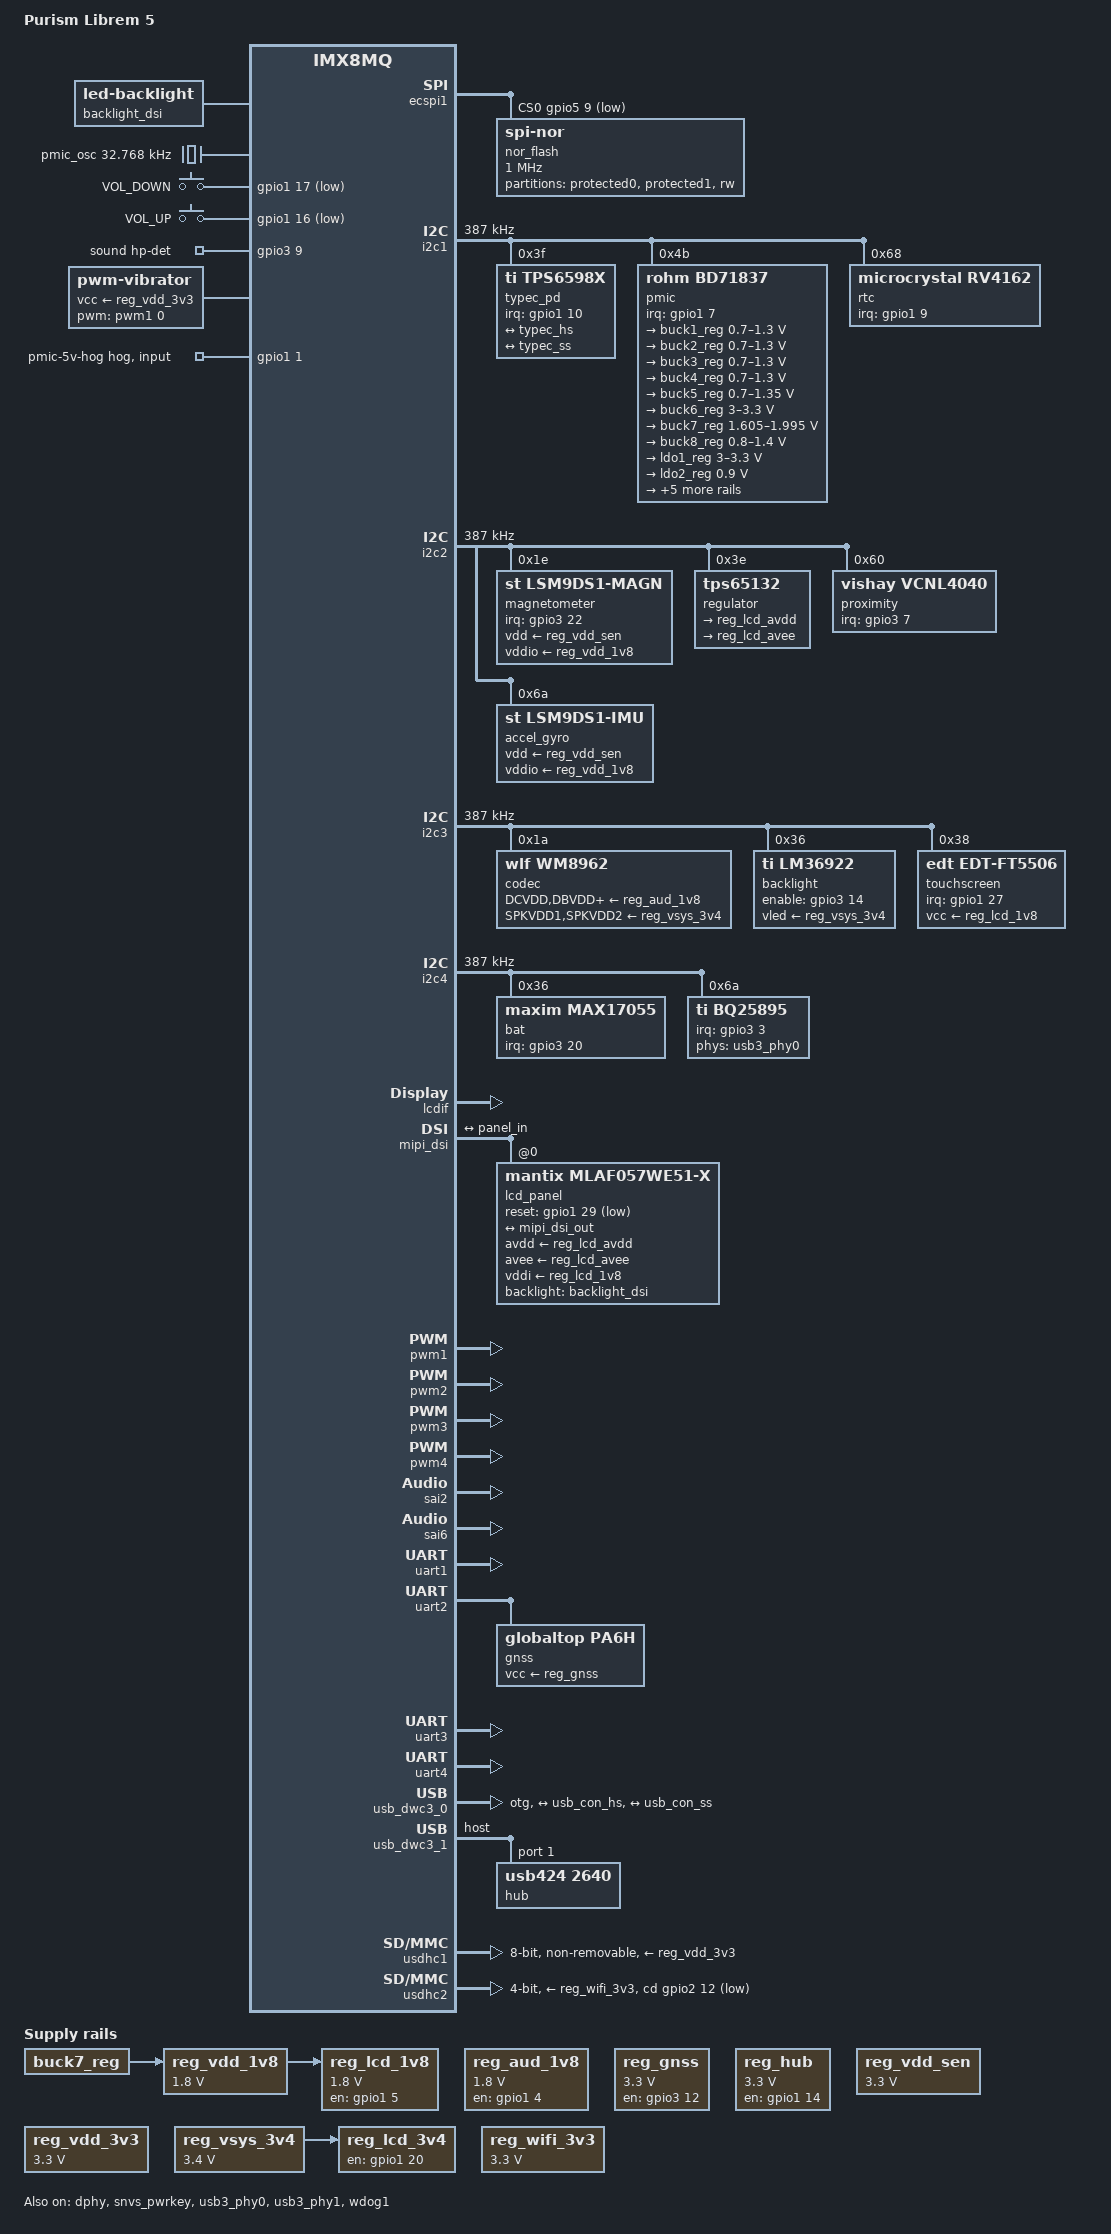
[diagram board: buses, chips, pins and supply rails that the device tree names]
// SPDX-License-Identifier: GPL-2.0+
/*
 * Copyright 2018-2020 Purism SPC
 */

/dts-v1/;

#include "dt-bindings/input/input.h"
#include <dt-bindings/interrupt-controller/irq.h>
#include "dt-bindings/pwm/pwm.h"
#include "dt-bindings/usb/pd.h"
#include "imx8mq.dtsi"

/ {
	model = "Purism Librem 5";
	compatible = "purism,librem5", "fsl,imx8mq";

	backlight_dsi: backlight-dsi {
		compatible = "led-backlight";
		leds = <&led_backlight>;
	};

	pmic_osc: clock-pmic {
		compatible = "fixed-clock";
		#clock-cells = <0>;
		clock-frequency = <32768>;
		clock-output-names = "pmic_osc";
	};

	chosen {
		stdout-path = &uart1;
	};

	gpio-keys {
		compatible = "gpio-keys";
		pinctrl-names = "default";
		pinctrl-0 = <&pinctrl_keys>;

		vol-down {
			label = "VOL_DOWN";
			gpios = <&gpio1 17 GPIO_ACTIVE_LOW>;
			linux,code = <KEY_VOLUMEDOWN>;
		};

		vol-up {
			label = "VOL_UP";
			gpios = <&gpio1 16 GPIO_ACTIVE_LOW>;
			linux,code = <KEY_VOLUMEUP>;
		};
	};

	reg_aud_1v8: regulator-audio-1v8 {
		compatible = "regulator-fixed";
		pinctrl-names = "default";
		pinctrl-0 = <&pinctrl_audiopwr>;
		regulator-name = "AUDIO_PWR_EN";
		regulator-min-microvolt = <1800000>;
		regulator-max-microvolt = <1800000>;
		gpio = <&gpio1 4 GPIO_ACTIVE_HIGH>;
		enable-active-high;
	};

	reg_gnss: regulator-gnss {
		compatible = "regulator-fixed";
		pinctrl-names = "default";
		pinctrl-0 = <&pinctrl_gnsspwr>;
		regulator-name = "GNSS";
		regulator-min-microvolt = <3300000>;
		regulator-max-microvolt = <3300000>;
		gpio = <&gpio3 12 GPIO_ACTIVE_HIGH>;
		enable-active-high;
	};

	reg_hub: regulator-hub {
		compatible = "regulator-fixed";
		pinctrl-names = "default";
		pinctrl-0 = <&pinctrl_hub_pwr>;
		regulator-name = "HUB";
		regulator-min-microvolt = <3300000>;
		regulator-max-microvolt = <3300000>;
		gpio = <&gpio1 14 GPIO_ACTIVE_HIGH>;
		enable-active-high;
	};

	reg_lcd_1v8: regulator-lcd-1v8 {
		compatible = "regulator-fixed";
		pinctrl-names = "default";
		pinctrl-0 = <&pinctrl_dsien>;
		regulator-name = "LCD_1V8";
		regulator-min-microvolt = <1800000>;
		regulator-max-microvolt = <1800000>;
		vin-supply = <&reg_vdd_1v8>;
		gpio = <&gpio1 5 GPIO_ACTIVE_HIGH>;
		enable-active-high;
		/* Otherwise i2c3 is not functional */
		regulator-always-on;
	};

	reg_lcd_3v4: regulator-lcd-3v4 {
		compatible = "regulator-fixed";
		regulator-name = "LCD_3V4";
		pinctrl-names = "default";
		pinctrl-0 = <&pinctrl_dsibiasen>;
		vin-supply = <&reg_vsys_3v4>;
		gpio = <&gpio1 20 GPIO_ACTIVE_HIGH>;
		enable-active-high;
	};

	reg_vdd_sen: regulator-vdd-sen {
		compatible = "regulator-fixed";
		regulator-name = "VDD_SEN";
		regulator-min-microvolt = <3300000>;
		regulator-max-microvolt = <3300000>;
	};

	reg_vdd_1v8: regulator-vdd-1v8 {
		compatible = "regulator-fixed";
		regulator-name = "VDD_1V8";
		regulator-min-microvolt = <1800000>;
		regulator-max-microvolt = <1800000>;
		vin-supply = <&buck7_reg>;
	};

	reg_vdd_3v3: regulator-vdd-3v3 {
		compatible = "regulator-fixed";
		regulator-name = "VDD_3V3";
		regulator-min-microvolt = <3300000>;
		regulator-max-microvolt = <3300000>;
	};

	reg_vsys_3v4: regulator-vsys-3v4 {
		compatible = "regulator-fixed";
		regulator-name = "VSYS_3V4";
		regulator-min-microvolt = <3400000>;
		regulator-max-microvolt = <3400000>;
		regulator-always-on;
	};

	reg_wifi_3v3: regulator-wifi-3v3 {
		compatible = "regulator-fixed";
		regulator-name = "3V3_WIFI";
		regulator-min-microvolt = <3300000>;
		regulator-max-microvolt = <3300000>;
	};

	sound {
		compatible = "simple-audio-card";
		pinctrl-names = "default";
		pinctrl-0 = <&pinctrl_hp>;
		simple-audio-card,name = "Librem 5";
		simple-audio-card,format = "i2s";
		simple-audio-card,widgets =
			"Headphone", "Headphones",
			"Microphone", "Headset Mic",
			"Microphone", "Digital Mic",
			"Speaker", "Speaker";
		simple-audio-card,routing =
			"Headphones", "HPOUTL",
			"Headphones", "HPOUTR",
			"Speaker", "SPKOUTL",
			"Speaker", "SPKOUTR",
			"Headset Mic", "MICBIAS",
			"IN3R", "Headset Mic",
			"DMICDAT", "Digital Mic";
		simple-audio-card,hp-det-gpio = <&gpio3 9 GPIO_ACTIVE_HIGH>;

		simple-audio-card,cpu {
			sound-dai = <&sai2>;
		};

		simple-audio-card,codec {
			sound-dai = <&codec>;
			clocks = <&clk IMX8MQ_CLK_SAI2_ROOT>;
			frame-master;
			bitclock-master;
		};
	};

	sound-wwan {
		compatible = "simple-audio-card";
		simple-audio-card,name = "Modem";
		simple-audio-card,format = "i2s";

		simple-audio-card,cpu {
			sound-dai = <&sai6>;
			frame-inversion;
		};

		simple-audio-card,codec {
			sound-dai = <&bm818_codec>;
			frame-master;
			bitclock-master;
		};
	};

	bm818_codec: sound-wwan-codec {
		compatible = "broadmobi,bm818", "option,gtm601";
		#sound-dai-cells = <0>;
	};

	vibrator {
		compatible = "pwm-vibrator";
		pwms = <&pwm1 0 1000000000 0>;
		pwm-names = "enable";
		vcc-supply = <&reg_vdd_3v3>;
	};
};

&A53_0 {
	cpu-supply = <&buck2_reg>;
};

&A53_1 {
	cpu-supply = <&buck2_reg>;
};

&A53_2 {
	cpu-supply = <&buck2_reg>;
};

&A53_3 {
	cpu-supply = <&buck2_reg>;
};

&ddrc {
	operating-points-v2 = <&ddrc_opp_table>;

	ddrc_opp_table: ddrc-opp-table {
		compatible = "operating-points-v2";

		opp-25M {
			opp-hz = /bits/ 64 <25000000>;
		};

		opp-100M {
			opp-hz = /bits/ 64 <100000000>;
		};

		opp-800M {
			opp-hz = /bits/ 64 <800000000>;
		};
	};
};

&dphy {
	status = "okay";
};

&ecspi1 {
	pinctrl-names = "default";
	pinctrl-0 = <&pinctrl_ecspi1>;
	cs-gpios = <&gpio5 9 GPIO_ACTIVE_LOW>;
	#address-cells = <1>;
	#size-cells = <0>;
	status = "okay";

	nor_flash: flash@0 {
		compatible = "jedec,spi-nor";
		reg = <0>;
		spi-max-frequency = <1000000>;
		#address-cells = <1>;
		#size-cells = <1>;

		partition@0 {
			label = "protected0";
			reg = <0x0 0x30000>;
			read-only;
		};

		partition@30000 {
			label = "protected1";
			reg = <0x30000 0x10000>;
			read-only;
		};

		partition@40000 {
			label = "rw";
			reg = <0x40000 0x1C0000>;
		};
	};
};

&gpio1 {
	pinctrl-names = "default";
	pinctrl-0 = <&pinctrl_pmic_5v>;

	pmic-5v-hog {
		gpio-hog;
		gpios = <1 GPIO_ACTIVE_HIGH>;
		input;
		lane-mapping = "pmic-5v";
	};
};

&iomuxc {
	pinctrl_audiopwr: audiopwrgrp {
		fsl,pins = <
			/* AUDIO_POWER_EN_3V3 */
			MX8MQ_IOMUXC_GPIO1_IO04_GPIO1_IO4	0x83
		>;
	};

	pinctrl_bl: blgrp {
		fsl,pins = <
			/* BACKLINGE_EN */
			MX8MQ_IOMUXC_NAND_DQS_GPIO3_IO14	0x83
		>;
	};

	pinctrl_charger_in: chargeringrp {
		fsl,pins = <
			/* CHRG_INT */
			MX8MQ_IOMUXC_NAND_CE2_B_GPIO3_IO3	0x80
			/* CHG_STATUS_B */
			MX8MQ_IOMUXC_NAND_ALE_GPIO3_IO0		0x80
		>;
	};

	pinctrl_dsibiasen: dsibiasengrp {
		fsl,pins = <
			/* DSI_BIAS_EN */
			MX8MQ_IOMUXC_ENET_TD1_GPIO1_IO20	0x83
		>;
	};

	pinctrl_dsien: dsiengrp {
		fsl,pins = <
			/* DSI_EN_3V3 */
			MX8MQ_IOMUXC_GPIO1_IO05_GPIO1_IO5	0x83
		>;
	};

	pinctrl_dsirst: dsirstgrp {
		fsl,pins = <
			/* DSI_RST */
			MX8MQ_IOMUXC_ENET_RD3_GPIO1_IO29	0x83
			/* DSI_TE */
			MX8MQ_IOMUXC_ENET_RD2_GPIO1_IO28	0x83
			/* TP_RST */
			MX8MQ_IOMUXC_ENET_RX_CTL_GPIO1_IO24	0x83
		>;
	};

	pinctrl_ecspi1: ecspigrp {
		fsl,pins = <
			MX8MQ_IOMUXC_ECSPI1_MOSI_ECSPI1_MOSI	0x83
			MX8MQ_IOMUXC_ECSPI1_MISO_ECSPI1_MISO	0x83
			MX8MQ_IOMUXC_ECSPI1_SS0_GPIO5_IO9	0x19
			MX8MQ_IOMUXC_ECSPI1_SCLK_ECSPI1_SCLK	0x83
		>;
	};

	pinctrl_gauge: gaugegrp {
		fsl,pins = <
			/* BAT_LOW */
			MX8MQ_IOMUXC_SAI5_RXC_GPIO3_IO20	0x80
		>;
	};

	pinctrl_gnsspwr: gnsspwrgrp {
		fsl,pins = <
			/* GPS3V3_EN */
			MX8MQ_IOMUXC_NAND_DATA06_GPIO3_IO12	0x83
		>;
	};

	pinctrl_haptic: hapticgrp {
		fsl,pins = <
			/* MOTO */
			MX8MQ_IOMUXC_SPDIF_EXT_CLK_PWM1_OUT	0x83
		>;
	};

	pinctrl_hp: hpgrp {
		fsl,pins = <
			/* HEADPHONE_DET_1V8 */
			MX8MQ_IOMUXC_NAND_DATA03_GPIO3_IO9	0x180
		>;
	};

	pinctrl_hub_pwr: hubpwrgrp {
		fsl,pins = <
			/* HUB_PWR_3V3_EN */
			MX8MQ_IOMUXC_GPIO1_IO14_GPIO1_IO14	0x83
		>;
	};

	pinctrl_i2c1: i2c1grp {
		fsl,pins = <
			MX8MQ_IOMUXC_I2C1_SCL_I2C1_SCL		0x40000026
			MX8MQ_IOMUXC_I2C1_SDA_I2C1_SDA		0x40000026
		>;
	};

	pinctrl_i2c2: i2c2grp {
		fsl,pins = <
			MX8MQ_IOMUXC_I2C2_SCL_I2C2_SCL		0x40000026
			MX8MQ_IOMUXC_I2C2_SDA_I2C2_SDA		0x40000026
		>;
	};

	pinctrl_i2c3: i2c3grp {
		fsl,pins = <
			MX8MQ_IOMUXC_I2C3_SCL_I2C3_SCL		0x40000026
			MX8MQ_IOMUXC_I2C3_SDA_I2C3_SDA		0x40000026
		>;
	};

	pinctrl_i2c4: i2c4grp {
		fsl,pins = <
			MX8MQ_IOMUXC_I2C4_SCL_I2C4_SCL		0x40000026
			MX8MQ_IOMUXC_I2C4_SDA_I2C4_SDA		0x40000026
		>;
	};

	pinctrl_keys: keysgrp {
		fsl,pins = <
			/* VOL- */
			MX8MQ_IOMUXC_ENET_MDIO_GPIO1_IO17	0x01C0
			/* VOL+ */
			MX8MQ_IOMUXC_ENET_MDC_GPIO1_IO16	0x01C0
		>;
	};

	pinctrl_led_b: ledbgrp {
		fsl,pins = <
			/* LED_B */
			MX8MQ_IOMUXC_GPIO1_IO13_PWM2_OUT	0x06
		>;
	};

	pinctrl_led_g: ledggrp {
		fsl,pins = <
			/* LED_G */
			MX8MQ_IOMUXC_SAI3_MCLK_PWM4_OUT		0x06
		>;
	};

	pinctrl_led_r: ledrgrp {
		fsl,pins = <
			/* LED_R */
			MX8MQ_IOMUXC_SPDIF_TX_PWM3_OUT		0x06
		>;
	};

	pinctrl_mag: maggrp {
		fsl,pins = <
			/* INT_MAG */
			MX8MQ_IOMUXC_SAI5_RXD1_GPIO3_IO22	0x80
		>;
	};

	pinctrl_pmic: pmicgrp {
		fsl,pins = <
			/* PMIC_NINT */
			MX8MQ_IOMUXC_GPIO1_IO07_GPIO1_IO7	0x80
		>;
	};

	pinctrl_pmic_5v: pmic5vgrp {
		fsl,pins = <
			/* PMIC_5V */
			MX8MQ_IOMUXC_GPIO1_IO01_GPIO1_IO1	0x80
		>;
	};

	pinctrl_prox: proxgrp {
		fsl,pins = <
			/* INT_LIGHT */
			MX8MQ_IOMUXC_NAND_DATA01_GPIO3_IO7	0x80
		>;
	};

	pinctrl_rtc: rtcgrp {
		fsl,pins = <
			/* RTC_INT */
			MX8MQ_IOMUXC_GPIO1_IO09_GPIO1_IO9	0x80
		>;
	};

	pinctrl_sai2: sai2grp {
		fsl,pins = <
			MX8MQ_IOMUXC_SAI2_TXD0_SAI2_TX_DATA0	0xd6
			MX8MQ_IOMUXC_SAI2_TXFS_SAI2_TX_SYNC	0xd6
			MX8MQ_IOMUXC_SAI2_MCLK_SAI2_MCLK	0xd6
			MX8MQ_IOMUXC_SAI2_RXD0_SAI2_RX_DATA0	0xd6
			MX8MQ_IOMUXC_SAI2_TXC_SAI2_TX_BCLK	0xd6
		>;
	};

	pinctrl_sai6: sai6grp {
		fsl,pins = <
			MX8MQ_IOMUXC_SAI1_RXD5_SAI6_RX_DATA0	0xd6
			MX8MQ_IOMUXC_SAI1_RXD6_SAI6_RX_SYNC	0xd6
			MX8MQ_IOMUXC_SAI1_TXD4_SAI6_RX_BCLK	0xd6
			MX8MQ_IOMUXC_SAI1_TXD5_SAI6_TX_DATA0	0xd6
		>;
	};

	pinctrl_tcpc: tcpcgrp {
		fsl,pins = <
			/* TCPC_INT */
			MX8MQ_IOMUXC_GPIO1_IO10_GPIO1_IO10	0x01C0
		>;
	};

	pinctrl_touch: touchgrp {
		fsl,pins = <
			/* TP_INT */
			MX8MQ_IOMUXC_ENET_RD1_GPIO1_IO27	0x80
		>;
	};

	pinctrl_typec: typecgrp {
		fsl,pins = <
			/* TYPEC_MUX_EN */
			MX8MQ_IOMUXC_GPIO1_IO11_GPIO1_IO11	0x83
		>;
	};

	pinctrl_uart1: uart1grp {
		fsl,pins = <
			MX8MQ_IOMUXC_UART1_RXD_UART1_DCE_RX	0x49
			MX8MQ_IOMUXC_UART1_TXD_UART1_DCE_TX	0x49
		>;
	};

	pinctrl_uart2: uart2grp {
		fsl,pins = <
			MX8MQ_IOMUXC_UART2_TXD_UART2_DCE_TX	0x49
			MX8MQ_IOMUXC_UART2_RXD_UART2_DCE_RX	0x49
		>;
	};

	pinctrl_uart3: uart3grp {
		fsl,pins = <
			MX8MQ_IOMUXC_UART3_RXD_UART3_DCE_RX	0x49
			MX8MQ_IOMUXC_UART3_TXD_UART3_DCE_TX	0x49
		>;
	};

	pinctrl_uart4: uart4grp {
		fsl,pins = <
			MX8MQ_IOMUXC_ECSPI2_SCLK_UART4_DCE_RX		0x49
			MX8MQ_IOMUXC_ECSPI2_MOSI_UART4_DCE_TX		0x49
			MX8MQ_IOMUXC_ECSPI2_MISO_UART4_DCE_CTS_B	0x49
			MX8MQ_IOMUXC_ECSPI2_SS0_UART4_DCE_RTS_B		0x49
		>;
	};

	pinctrl_usdhc1: usdhc1grp {
		fsl,pins = <
			MX8MQ_IOMUXC_SD1_CLK_USDHC1_CLK			0x83
			MX8MQ_IOMUXC_SD1_CMD_USDHC1_CMD			0xc3
			MX8MQ_IOMUXC_SD1_DATA0_USDHC1_DATA0		0xc3
			MX8MQ_IOMUXC_SD1_DATA1_USDHC1_DATA1		0xc3
			MX8MQ_IOMUXC_SD1_DATA2_USDHC1_DATA2		0xc3
			MX8MQ_IOMUXC_SD1_DATA3_USDHC1_DATA3		0xc3
			MX8MQ_IOMUXC_SD1_DATA4_USDHC1_DATA4		0xc3
			MX8MQ_IOMUXC_SD1_DATA5_USDHC1_DATA5		0xc3
			MX8MQ_IOMUXC_SD1_DATA6_USDHC1_DATA6		0xc3
			MX8MQ_IOMUXC_SD1_DATA7_USDHC1_DATA7		0xc3
			MX8MQ_IOMUXC_SD1_STROBE_USDHC1_STROBE		0x83
			MX8MQ_IOMUXC_SD1_RESET_B_USDHC1_RESET_B		0xc1
		>;
	};

	pinctrl_usdhc1_100mhz: usdhc1grp100mhz {
		fsl,pins = <
			MX8MQ_IOMUXC_SD1_CLK_USDHC1_CLK			0x8d
			MX8MQ_IOMUXC_SD1_CMD_USDHC1_CMD			0xcd
			MX8MQ_IOMUXC_SD1_DATA0_USDHC1_DATA0		0xcd
			MX8MQ_IOMUXC_SD1_DATA1_USDHC1_DATA1		0xcd
			MX8MQ_IOMUXC_SD1_DATA2_USDHC1_DATA2		0xcd
			MX8MQ_IOMUXC_SD1_DATA3_USDHC1_DATA3		0xcd
			MX8MQ_IOMUXC_SD1_DATA4_USDHC1_DATA4		0xcd
			MX8MQ_IOMUXC_SD1_DATA5_USDHC1_DATA5		0xcd
			MX8MQ_IOMUXC_SD1_DATA6_USDHC1_DATA6		0xcd
			MX8MQ_IOMUXC_SD1_DATA7_USDHC1_DATA7		0xcd
			MX8MQ_IOMUXC_SD1_STROBE_USDHC1_STROBE		0x8d
			MX8MQ_IOMUXC_SD1_RESET_B_USDHC1_RESET_B		0xc1
		>;
	};

	pinctrl_usdhc1_200mhz: usdhc1grp200mhz {
		fsl,pins = <
			MX8MQ_IOMUXC_SD1_CLK_USDHC1_CLK			0x9f
			MX8MQ_IOMUXC_SD1_CMD_USDHC1_CMD			0xdf
			MX8MQ_IOMUXC_SD1_DATA0_USDHC1_DATA0		0xdf
			MX8MQ_IOMUXC_SD1_DATA1_USDHC1_DATA1		0xdf
			MX8MQ_IOMUXC_SD1_DATA2_USDHC1_DATA2		0xdf
			MX8MQ_IOMUXC_SD1_DATA3_USDHC1_DATA3		0xdf
			MX8MQ_IOMUXC_SD1_DATA4_USDHC1_DATA4		0xdf
			MX8MQ_IOMUXC_SD1_DATA5_USDHC1_DATA5		0xdf
			MX8MQ_IOMUXC_SD1_DATA6_USDHC1_DATA6		0xdf
			MX8MQ_IOMUXC_SD1_DATA7_USDHC1_DATA7		0xdf
			MX8MQ_IOMUXC_SD1_STROBE_USDHC1_STROBE		0x9f
			MX8MQ_IOMUXC_SD1_RESET_B_USDHC1_RESET_B		0xc1
		>;
	};

	pinctrl_usdhc2: usdhc2grp {
		fsl,pins = <
			MX8MQ_IOMUXC_SD2_CD_B_GPIO2_IO12	0x80
			MX8MQ_IOMUXC_SD2_CLK_USDHC2_CLK		0x83
			MX8MQ_IOMUXC_SD2_CMD_USDHC2_CMD		0xc3
			MX8MQ_IOMUXC_SD2_DATA0_USDHC2_DATA0	0xc3
			MX8MQ_IOMUXC_SD2_DATA1_USDHC2_DATA1	0xc3
			MX8MQ_IOMUXC_SD2_DATA2_USDHC2_DATA2	0xc3
			MX8MQ_IOMUXC_SD2_DATA3_USDHC2_DATA3	0xc3
			MX8MQ_IOMUXC_SD2_RESET_B_USDHC2_RESET_B 0xc1
		>;
	};

	pinctrl_usdhc2_100mhz: usdhc2grp100mhz {
		fsl,pins = <
			MX8MQ_IOMUXC_SD2_CD_B_GPIO2_IO12	0x80
			MX8MQ_IOMUXC_SD2_CLK_USDHC2_CLK		0x8d
			MX8MQ_IOMUXC_SD2_CMD_USDHC2_CMD		0xcd
			MX8MQ_IOMUXC_SD2_DATA0_USDHC2_DATA0	0xcd
			MX8MQ_IOMUXC_SD2_DATA1_USDHC2_DATA1	0xcd
			MX8MQ_IOMUXC_SD2_DATA2_USDHC2_DATA2	0xcd
			MX8MQ_IOMUXC_SD2_DATA3_USDHC2_DATA3	0xcd
			MX8MQ_IOMUXC_SD2_RESET_B_USDHC2_RESET_B 0xc1
		>;
	};

	pinctrl_usdhc2_200mhz: usdhc2grp200mhz {
		fsl,pins = <
			MX8MQ_IOMUXC_SD2_CD_B_GPIO2_IO12	0x80
			MX8MQ_IOMUXC_SD2_CLK_USDHC2_CLK		0x9f
			MX8MQ_IOMUXC_SD2_CMD_USDHC2_CMD		0xcf
			MX8MQ_IOMUXC_SD2_DATA0_USDHC2_DATA0	0xcf
			MX8MQ_IOMUXC_SD2_DATA1_USDHC2_DATA1	0xcf
			MX8MQ_IOMUXC_SD2_DATA2_USDHC2_DATA2	0xcf
			MX8MQ_IOMUXC_SD2_DATA3_USDHC2_DATA3	0xcf
			MX8MQ_IOMUXC_SD2_RESET_B_USDHC2_RESET_B 0xc1
		>;
	};

	pinctrl_wdog: wdoggrp {
		fsl,pins = <
			/* nWDOG */
			MX8MQ_IOMUXC_GPIO1_IO02_WDOG1_WDOG_B	0x1f
		>;
	};
};

&i2c1 {
	clock-frequency = <387000>;
	pinctrl-names = "default";
	pinctrl-0 = <&pinctrl_i2c1>;
	status = "okay";

	typec_pd: usb-pd@3f {
		compatible = "ti,tps6598x";
		reg = <0x3f>;
		pinctrl-names = "default";
		pinctrl-0 = <&pinctrl_typec>, <&pinctrl_tcpc>;
		interrupt-parent = <&gpio1>;
		interrupts = <10 IRQ_TYPE_LEVEL_LOW>;
		interrupt-names = "irq";

		connector {
			ports {
				#address-cells = <1>;
				#size-cells = <0>;

				port@0 {
					reg = <0>;

					usb_con_hs: endpoint {
						remote-endpoint = <&typec_hs>;
					};
				};

				port@1 {
					reg = <1>;

					usb_con_ss: endpoint {
						remote-endpoint = <&typec_ss>;
					};
				};
			};
		};
	};

	pmic: pmic@4b {
		compatible = "rohm,bd71837";
		reg = <0x4b>;
		pinctrl-names = "default";
		pinctrl-0 = <&pinctrl_pmic>;
		clocks = <&pmic_osc>;
		clock-names = "osc";
		clock-output-names = "pmic_clk";
		interrupt-parent = <&gpio1>;
		interrupts = <7 IRQ_TYPE_LEVEL_LOW>;
		rohm,reset-snvs-powered;

		regulators {
			buck1_reg: BUCK1 {
				regulator-name = "buck1";
				regulator-min-microvolt = <700000>;
				regulator-max-microvolt = <1300000>;
				regulator-boot-on;
				regulator-ramp-delay = <1250>;
				rohm,dvs-run-voltage = <900000>;
				rohm,dvs-idle-voltage = <850000>;
				rohm,dvs-suspend-voltage = <800000>;
				regulator-always-on;
			};

			buck2_reg: BUCK2 {
				regulator-name = "buck2";
				regulator-min-microvolt = <700000>;
				regulator-max-microvolt = <1300000>;
				regulator-boot-on;
				regulator-ramp-delay = <1250>;
				rohm,dvs-run-voltage = <1000000>;
				rohm,dvs-idle-voltage = <900000>;
				regulator-always-on;
			};

			buck3_reg: BUCK3 {
				regulator-name = "buck3";
				regulator-min-microvolt = <700000>;
				regulator-max-microvolt = <1300000>;
				regulator-boot-on;
				rohm,dvs-run-voltage = <900000>;
			};

			buck4_reg: BUCK4 {
				regulator-name = "buck4";
				regulator-min-microvolt = <700000>;
				regulator-max-microvolt = <1300000>;
				rohm,dvs-run-voltage = <1000000>;
			};

			buck5_reg: BUCK5 {
				regulator-name = "buck5";
				regulator-min-microvolt = <700000>;
				regulator-max-microvolt = <1350000>;
				regulator-boot-on;
				regulator-always-on;
			};

			buck6_reg: BUCK6 {
				regulator-name = "buck6";
				regulator-min-microvolt = <3000000>;
				regulator-max-microvolt = <3300000>;
				regulator-boot-on;
				regulator-always-on;
			};

			buck7_reg: BUCK7 {
				regulator-name = "buck7";
				regulator-min-microvolt = <1605000>;
				regulator-max-microvolt = <1995000>;
				regulator-boot-on;
				regulator-always-on;
			};

			buck8_reg: BUCK8 {
				regulator-name = "buck8";
				regulator-min-microvolt = <800000>;
				regulator-max-microvolt = <1400000>;
				regulator-boot-on;
				regulator-always-on;
			};

			ldo1_reg: LDO1 {
				regulator-name = "ldo1";
				regulator-min-microvolt = <3000000>;
				regulator-max-microvolt = <3300000>;
				regulator-boot-on;
				/* leave on for snvs power button */
				regulator-always-on;
			};

			ldo2_reg: LDO2 {
				regulator-name = "ldo2";
				regulator-min-microvolt = <900000>;
				regulator-max-microvolt = <900000>;
				regulator-boot-on;
				/* leave on for snvs power button */
				regulator-always-on;
			};

			ldo3_reg: LDO3 {
				regulator-name = "ldo3";
				regulator-min-microvolt = <1800000>;
				regulator-max-microvolt = <3300000>;
				regulator-boot-on;
				regulator-always-on;
			};

			ldo4_reg: LDO4 {
				regulator-name = "ldo4";
				regulator-min-microvolt = <900000>;
				regulator-max-microvolt = <1800000>;
				regulator-boot-on;
				regulator-always-on;
			};

			ldo5_reg: LDO5 {
				/* VDD_PHY_0V9 - MIPI and HDMI domains */
				regulator-name = "ldo5";
				regulator-min-microvolt = <1800000>;
				regulator-max-microvolt = <3300000>;
				regulator-always-on;
			};

			ldo6_reg: LDO6 {
				/* VDD_PHY_0V9 - MIPI, HDMI and USB domains */
				regulator-name = "ldo6";
				regulator-min-microvolt = <900000>;
				regulator-max-microvolt = <1800000>;
				regulator-boot-on;
				regulator-always-on;
			};

			ldo7_reg: LDO7 {
				/* VDD_PHY_3V3 - USB domain */
				regulator-name = "ldo7";
				regulator-min-microvolt = <1800000>;
				regulator-max-microvolt = <3300000>;
				regulator-boot-on;
				regulator-always-on;
			};
		};
	};

	rtc@68 {
		compatible = "microcrystal,rv4162";
		reg = <0x68>;
		pinctrl-names = "default";
		pinctrl-0 = <&pinctrl_rtc>;
		interrupt-parent = <&gpio1>;
		interrupts = <9 IRQ_TYPE_LEVEL_LOW>;
	};
};

&i2c2 {
	clock-frequency = <387000>;
	pinctrl-names = "default";
	pinctrl-0 = <&pinctrl_i2c2>;
	status = "okay";

	magnetometer@1e	{
		compatible = "st,lsm9ds1-magn";
		reg = <0x1e>;
		pinctrl-names = "default";
		pinctrl-0 = <&pinctrl_mag>;
		interrupt-parent = <&gpio3>;
		interrupts = <22 IRQ_TYPE_LEVEL_HIGH>;
		vdd-supply = <&reg_vdd_sen>;
		vddio-supply = <&reg_vdd_1v8>;
	};

	regulator@3e {
		compatible = "tps65132";
		reg = <0x3e>;

		reg_lcd_avdd: outp {
			regulator-name = "LCD_AVDD";
			vin-supply = <&reg_lcd_3v4>;
		};

		reg_lcd_avee: outn {
			regulator-name = "LCD_AVEE";
			vin-supply = <&reg_lcd_3v4>;
		};
	};

	proximity: prox@60 {
		compatible = "vishay,vcnl4040";
		reg = <0x60>;
		pinctrl-names = "default";
		pinctrl-0 = <&pinctrl_prox>;
		interrupt-parent = <&gpio3>;
		interrupts = <7 IRQ_TYPE_LEVEL_LOW>;
	};

	accel_gyro: accel-gyro@6a	{
		compatible = "st,lsm9ds1-imu";
		reg = <0x6a>;
		vdd-supply = <&reg_vdd_sen>;
		vddio-supply = <&reg_vdd_1v8>;
	};
};

&i2c3 {
	clock-frequency = <387000>;
	pinctrl-names = "default";
	pinctrl-0 = <&pinctrl_i2c3>;
	status = "okay";

	codec: audio-codec@1a {
		compatible = "wlf,wm8962";
		reg = <0x1a>;
		clocks = <&clk IMX8MQ_CLK_SAI2_ROOT>;
		assigned-clocks = <&clk IMX8MQ_CLK_SAI2>;
		assigned-clock-parents = <&clk IMX8MQ_AUDIO_PLL1_OUT>;
		assigned-clock-rates = <24576000>;
		#sound-dai-cells = <0>;
		mic-cfg = <0x200>;
		DCVDD-supply = <&reg_aud_1v8>;
		DBVDD-supply = <&reg_aud_1v8>;
		AVDD-supply = <&reg_aud_1v8>;
		CPVDD-supply = <&reg_aud_1v8>;
		MICVDD-supply = <&reg_aud_1v8>;
		PLLVDD-supply = <&reg_aud_1v8>;
		SPKVDD1-supply = <&reg_vsys_3v4>;
		SPKVDD2-supply = <&reg_vsys_3v4>;
		gpio-cfg = <
			0x0000 /* n/c */
			0x0001 /* gpio2, 1: default */
			0x0013 /* gpio3, 2: dmicclk */
			0x0000 /* n/c, 3: default */
			0x8014 /* gpio5, 4: dmic_dat */
			0x0000 /* gpio6, 5: default */
		>;
	};

	backlight@36 {
		compatible = "ti,lm36922";
		reg = <0x36>;
		pinctrl-names = "default";
		pinctrl-0 = <&pinctrl_bl>;
		#address-cells = <1>;
		#size-cells = <0>;
		enable-gpios = <&gpio3 14 GPIO_ACTIVE_HIGH>;
		vled-supply = <&reg_vsys_3v4>;
		ti,ovp-microvolt = <25000000>;

		led_backlight: led@0 {
			reg = <0>;
			label = ":backlight";
			linux,default-trigger = "backlight";
			led-max-microamp = <20000>;
		};
	};

	touchscreen@38 {
		compatible = "edt,edt-ft5506";
		reg = <0x38>;
		pinctrl-names = "default";
		pinctrl-0 = <&pinctrl_touch>;
		interrupt-parent = <&gpio1>;
		interrupts = <27 IRQ_TYPE_EDGE_FALLING>;
		touchscreen-size-x = <720>;
		touchscreen-size-y = <1440>;
		vcc-supply = <&reg_lcd_1v8>;
	};
};

&i2c4 {
	clock-frequency = <387000>;
	pinctrl-names = "default";
	pinctrl-0 = <&pinctrl_i2c4>;
	status = "okay";

	bat: fuel-gauge@36 {
		compatible = "maxim,max17055";
		reg = <0x36>;
		interrupt-parent = <&gpio3>;
		interrupts = <20 IRQ_TYPE_LEVEL_LOW>;
		pinctrl-names = "default";
		pinctrl-0 = <&pinctrl_gauge>;
		power-supplies = <&bq25895>;
		maxim,over-heat-temp = <700>;
		maxim,over-volt = <4500>;
		maxim,rsns-microohm = <5000>;
	};

	bq25895: charger@6a {
		compatible = "ti,bq25895", "ti,bq25890";
		reg = <0x6a>;
		pinctrl-names = "default";
		pinctrl-0 = <&pinctrl_charger_in>;
		interrupt-parent = <&gpio3>;
		interrupts = <3 IRQ_TYPE_EDGE_FALLING>;
		phys = <&usb3_phy0>;
		ti,precharge-current = <130000>; /* uA */
		ti,minimum-sys-voltage = <3700000>; /* uV */
		ti,boost-voltage = <5000000>; /* uV */
		ti,boost-max-current = <500000>; /* uA */
		ti,use-vinmin-threshold = <1>; /* enable VINDPM */
		ti,vinmin-threshold = <3900000>; /* uV */
		monitored-battery = <&bat>;
		power-supplies = <&typec_pd>;
	};
};

&lcdif {
	status = "okay";
};

&mipi_dsi {
	#address-cells = <1>;
	#size-cells = <0>;
	status = "okay";

	lcd_panel: panel@0 {
		compatible = "mantix,mlaf057we51-x";
		reg = <0>;
		pinctrl-names = "default";
		pinctrl-0 = <&pinctrl_dsirst>;
		avdd-supply = <&reg_lcd_avdd>;
		avee-supply = <&reg_lcd_avee>;
		vddi-supply = <&reg_lcd_1v8>;
		backlight = <&backlight_dsi>;
		reset-gpios = <&gpio1 29 GPIO_ACTIVE_LOW>;

		port {
			panel_in: endpoint {
				remote-endpoint = <&mipi_dsi_out>;
			};
		};
	};

	ports {
		port@1 {
			reg = <1>;

			mipi_dsi_out: endpoint {
				remote-endpoint = <&panel_in>;
			};
		};
	};
};

&pgc_gpu {
	power-supply = <&buck3_reg>;
};

&pgc_mipi {
	power-supply = <&ldo5_reg>;
};

&pgc_vpu {
	power-supply = <&buck4_reg>;
};

&pwm1 {
	pinctrl-names = "default";
	pinctrl-0 = <&pinctrl_haptic>;
	status = "okay";
};

&pwm2 {
	pinctrl-names = "default";
	pinctrl-0 = <&pinctrl_led_b>;
	status = "okay";
};

&pwm3 {
	pinctrl-names = "default";
	pinctrl-0 = <&pinctrl_led_g>;
	status = "okay";
};

&pwm4 {
	pinctrl-names = "default";
	pinctrl-0 = <&pinctrl_led_r>;
	status = "okay";
};

&sai2 {
	pinctrl-names = "default";
	pinctrl-0 = <&pinctrl_sai2>;
	assigned-clocks = <&clk IMX8MQ_CLK_SAI2>;
	assigned-clock-parents = <&clk IMX8MQ_AUDIO_PLL1_OUT>;
	assigned-clock-rates = <24576000>;
	status = "okay";
};

&sai6 {
	pinctrl-names = "default";
	pinctrl-0 = <&pinctrl_sai6>;
	assigned-clocks = <&clk IMX8MQ_CLK_SAI6>;
	assigned-clock-parents = <&clk IMX8MQ_AUDIO_PLL1_OUT>;
	assigned-clock-rates = <24576000>;
	fsl,sai-synchronous-rx;
	status = "okay";
};

&snvs_pwrkey {
	status = "okay";
};

&snvs_rtc {
	status = "disabled";
};

&uart1 { /* console */
	pinctrl-names = "default";
	pinctrl-0 = <&pinctrl_uart1>;
	status = "okay";
};

&uart2 { /* TPS - GPS - DEBUG */
	pinctrl-names = "default";
	pinctrl-0 = <&pinctrl_uart2>;
	status = "okay";

	gnss {
		compatible = "globaltop,pa6h";
		vcc-supply = <&reg_gnss>;
		current-speed = <9600>;
	};
};

&uart3 { /* SMC */
	pinctrl-names = "default";
	pinctrl-0 = <&pinctrl_uart3>;
	status = "okay";
};

&uart4 { /* BT */
	pinctrl-names = "default";
	pinctrl-0 = <&pinctrl_uart4>;
	uart-has-rtscts;
	status = "okay";
};

&usb3_phy0 {
	status = "okay";
};

&usb3_phy1 {
	vbus-supply = <&reg_hub>;
	status = "okay";
};

&usb_dwc3_0 {
	#address-cells = <1>;
	#size-cells = <0>;
	dr_mode = "otg";
	snps,dis_u3_susphy_quirk;
	status = "okay";

	port@0 {
		reg = <0>;

		typec_hs: endpoint {
			remote-endpoint = <&usb_con_hs>;
		};
	};

	port@1 {
		reg = <1>;

		typec_ss: endpoint {
			remote-endpoint = <&usb_con_ss>;
		};
	};
};

&usb_dwc3_1 {
	dr_mode = "host";
	status = "okay";
	#address-cells = <1>;
	#size-cells = <0>;

	/* Microchip USB2642 */
	hub@1 {
		compatible = "usb424,2640";
		reg = <1>;
		#address-cells = <1>;
		#size-cells = <0>;

		mass-storage@1 {
			compatible = "usb424,4041";
			reg = <1>;
		};
	};
};

&usdhc1 {
	assigned-clocks = <&clk IMX8MQ_CLK_USDHC1>;
	assigned-clock-rates = <400000000>;
	pinctrl-names = "default", "state_100mhz", "state_200mhz";
	pinctrl-0 = <&pinctrl_usdhc1>;
	pinctrl-1 = <&pinctrl_usdhc1_100mhz>;
	pinctrl-2 = <&pinctrl_usdhc1_200mhz>;
	bus-width = <8>;
	vmmc-supply = <&reg_vdd_3v3>;
	power-supply = <&reg_vdd_1v8>;
	non-removable;
	status = "okay";
};

&usdhc2 {
	assigned-clocks = <&clk IMX8MQ_CLK_USDHC2>;
	assigned-clock-rates = <200000000>;
	pinctrl-names = "default", "state_100mhz", "state_200mhz";
	pinctrl-0 = <&pinctrl_usdhc2>;
	pinctrl-1 = <&pinctrl_usdhc2_100mhz>;
	pinctrl-2 = <&pinctrl_usdhc2_200mhz>;
	bus-width = <4>;
	vmmc-supply = <&reg_wifi_3v3>;
	cd-gpios = <&gpio2 12 GPIO_ACTIVE_LOW>;
	disable-wp;
	cap-sdio-irq;
	keep-power-in-suspend;
	wakeup-source;
	status = "okay";
};

&wdog1 {
	pinctrl-names = "default";
	pinctrl-0 = <&pinctrl_wdog>;
	fsl,ext-reset-output;
	status = "okay";
};
